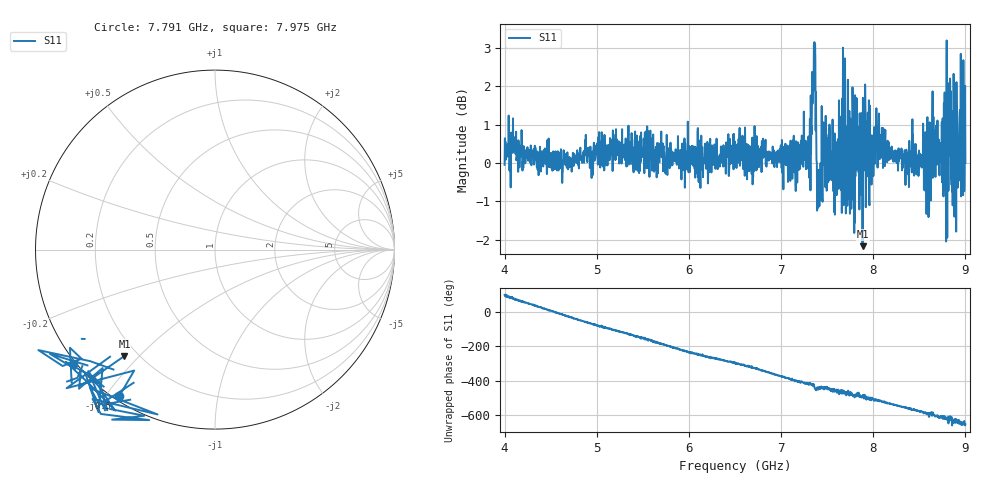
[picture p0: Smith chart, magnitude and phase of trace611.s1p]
! Created with skrf 1.8.0 (http://scikit-rf.org).
# Hz S RI R 50.0
!freq ReS11 ImS11
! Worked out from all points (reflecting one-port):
!   1601 points, 4 GHz to 9 GHz, reference 50 ohm
!   lowest |S11| = -2.2 dB at 7.884 GHz (marker M1), VSWR 8.04, Z = 7.52 - j22.7 ohm
!   phase of S11 starts at 99 deg and turns -752 deg over the sweep
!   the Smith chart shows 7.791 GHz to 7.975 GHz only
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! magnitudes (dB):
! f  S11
! 4 GHz  0.0
! 4.1 GHz  0.3
! 4.625 GHz  -0.5
! 5.25 GHz  0.2
! 5.875 GHz  0.0
! 6.5 GHz  0.6
! 7.125 GHz  0.5
! 7.294 GHz  0.0
! 7.356 GHz  3.1
! 7.409 GHz  -0.2
! 7.466 GHz  0.1
! 7.6 GHz  -0.4
! 7.669 GHz  0.5
! 7.75 GHz  1.2
! 7.828 GHz  0.9
! 7.884 GHz  -2.2
! 7.928 GHz  0.6
! 7.981 GHz  -0.6
! 8.059 GHz  0.5
! 8.375 GHz  -0.1
! 8.522 GHz  0.1
! 8.575 GHz  -0.1
! 8.656 GHz  0.3
! 8.766 GHz  1.6
! 8.819 GHz  1.6
! 8.869 GHz  -0.8
! 8.959 GHz  1.9
! 9 GHz  0.0
